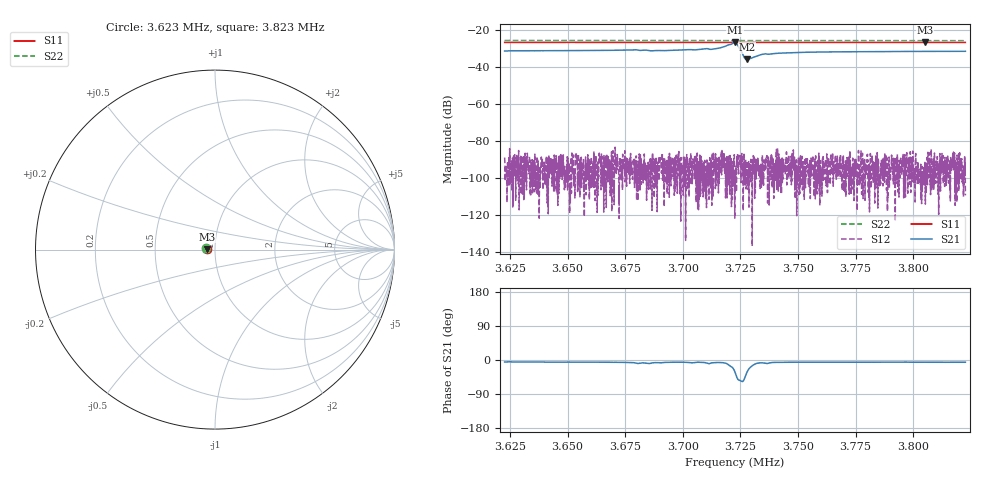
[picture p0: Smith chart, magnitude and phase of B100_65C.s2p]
# Hz S dB R 50.000
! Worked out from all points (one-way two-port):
!   6401 points, 3.623 MHz to 3.823 MHz, reference 50 ohm
!   highest |S21| = -26.72 dB at 3.723 MHz (marker M1); lowest = -36.0 dB at 3.728 MHz (marker M2)
!   lowest |S11| = -26.8 dB at 3.805 MHz (marker M3), VSWR 1.10, Z = 45.6 + j0.353 ohm
!   |S11| at or under -10 dB: start of sweep to end of sweep
!   |S22| runs from -25.8 to -25.7 dB; largest |S21 - S12| = 0.046
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3622656  -26.75 173.7  -31.39 -5.4  -89.10 -4.6  -25.70 171.9
3656000  -26.74 174.0  -31.17 -5.7  -95.72 -15.8  -25.72 172.2
3679281  -26.75 174.0  -30.76 -7.5  -96.22 107.6  -25.72 172.4
3686437  -26.75 174.1  -31.30 -8.0  -92.00 102.5  -25.73 172.5
3689344  -26.75 174.1  -31.13 -7.3  -100.59 123.4  -25.73 172.5
3705437  -26.76 174.2  -30.78 -6.5  -99.12 -94.9  -25.74 172.6
3710094  -26.76 174.3  -30.16 -7.5  -98.77 -77.2  -25.75 172.7
3712781  -26.76 174.3  -30.44 -7.4  -88.24 20.7  -25.74 172.7
3717000  -26.76 174.4  -29.46 -6.9  -86.22 64.8  -25.75 172.7
3722656  -26.76 174.4  -26.72 -31.9  -98.77 -26.5  -25.75 172.8
3723250  -26.76 174.4  -27.08 -42.2  -102.85 70.6  -25.75 172.8
3723906  -26.76 174.3  -28.42 -51.1  -90.01 10.8  -25.75 172.7
3726812  -26.76 174.4  -35.23 -48.2  -95.91 147.9  -25.75 172.8
3727312  -26.76 174.4  -35.85 -40.2  -90.82 3.3  -25.75 172.8
3727812  -26.76 174.3  -35.99 -32.7  -93.58 22.7  -25.75 172.8
3728687  -26.76 174.4  -35.71 -23.5  -101.52 45.3  -25.76 172.8
3733156  -26.76 174.3  -33.67 -7.7  -96.22 135.9  -25.75 172.8
3735281  -26.77 174.4  -33.00 -8.1  -95.35 41.3  -25.76 172.8
3756000  -26.77 174.6  -32.03 -5.9  -94.70 20.1  -25.77 173.0
3789344  -26.77 175.0  -31.74 -5.7  -94.00 0.6  -25.79 173.4
3805156  -26.79 175.2  -31.61 -5.9  -91.03 76.4  -25.80 173.4
3822656  -26.78 175.3  -31.56 -5.9  -109.59 112.1  -25.81 173.6
